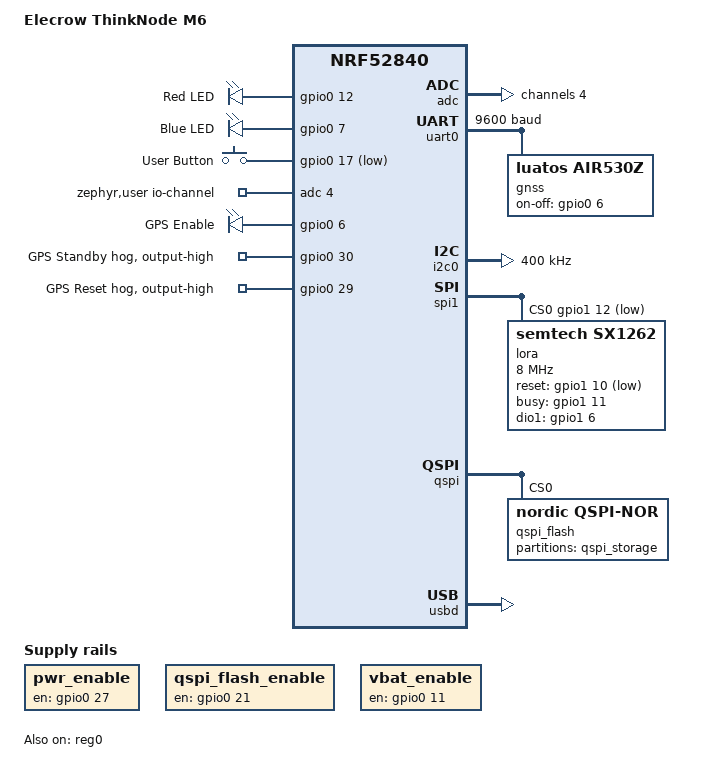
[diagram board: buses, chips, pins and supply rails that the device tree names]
/*
 * Elecrow ThinkNode M6 — nRF52840 + SX1262
 * Copyright (c) 2025 ZephCore
 *
 * SPDX-License-Identifier: MIT
 *
 * Hardware (from Arduino variant.h / platformio.ini):
 * - nRF52840 SoC with BLE (DCDC regulator, NRF52BoardDCDC)
 * - SX1262 LoRa radio on SPI1 (DIO2 RF switch, DIO3 TCXO 3.3V, 22dBm)
 *   NSS=P1.12, DIO1=P1.06, RESET=P1.10, BUSY=P1.11
 * - GPS L76K on UART0 (9600 baud, CASIC/Air530Z — luatos,air530z driver)
 *   Control: GPS_EN=P0.06 (active-HIGH), GPS_RESET=P0.29 (active-LOW),
 *            GPS_STANDBY=P0.30, GPS_PPS=P0.31
 * - Battery ADC on AIN4 (P0.28), 1.75:1 voltage divider
 *   ADC_CTRL enable pin: P0.11 (gpio-hog, always HIGH)
 * - LEDs: RED=P0.12, BLUE=P0.07 (both active-HIGH, LED_STATE_ON=HIGH)
 *   TX LED = BLUE (P_LORA_TX_LED = PIN_LED_BLUE)
 * - Button on P0.17 (active-low, pull-up)
 * - I2C on P1.09/P0.08 for on-board sensors
 * - QSPI Flash MX25R1635F (2MB): SCK=P1.03, CS=P0.23, IO0=P1.01,
 *   IO1=P1.02, IO2=P1.04, IO3=P1.05, enable=P0.21
 * - Power enable: PIN_PWR_EN=P0.27 (regulator-boot-on)
 */

/dts-v1/;
#include <nordic/nrf52840_qiaa.dtsi>
#include <zephyr/dt-bindings/lora/sx126x.h>
#include <zephyr/dt-bindings/adc/nrf-saadc.h>
#include <zephyr/dt-bindings/input/input-event-codes.h>
#include "thinknode_m6-pinctrl.dtsi"

/ {
	model = "Elecrow ThinkNode M6";
	compatible = "elecrow,thinknode-m6";

	chosen {
		zephyr,sram = &sram0;
		zephyr,code-partition = &code_partition;
		zephyr,console = &cdc_acm_uart;
		zephyr,shell-uart = &cdc_acm_uart;
	};

	leds {
		compatible = "gpio-leds";

		led_red: led_0 {
			/* Active-high (LED_STATE_ON = HIGH in variant.h) */
			gpios = <&gpio0 12 GPIO_ACTIVE_HIGH>;
			label = "Red LED";
		};

		led_blue: led_1 {
			/* Active-high, also used as LoRa TX LED (P_LORA_TX_LED) */
			gpios = <&gpio0 7 GPIO_ACTIVE_HIGH>;
			label = "Blue LED";
		};
	};

	buttons: buttons {
		compatible = "gpio-keys";

		user_button: button_0 {
			/* Active-low, internal pull-up */
			gpios = <&gpio0 17 (GPIO_ACTIVE_LOW | GPIO_PULL_UP)>;
			zephyr,code = <INPUT_KEY_0>;
			label = "User Button";
		};
	};

	/* Long-press detection (1000ms) */
	user_btn_longpress {
		compatible = "zephyr,input-longpress";
		input = <&buttons>;
		input-codes = <INPUT_KEY_0>;
		short-codes = <INPUT_KEY_A>;
		long-codes = <INPUT_KEY_F>;
		long-delay-ms = <1000>;
	};

	/* Multi-tap detection
	 * 1 tap  → KEY_1 = page next
	 * 2 taps → KEY_B = LED heartbeat toggle
	 * 3 taps → KEY_D = buzzer mute toggle
	 * 4 taps → KEY_C = GPS on/off
	 * 5 taps → KEY_E = flood advert */
	user_btn_multitap {
		compatible = "zephcore,input-multi-tap";
		input-codes = <INPUT_KEY_A>;
		tap-codes = <INPUT_KEY_1 INPUT_KEY_B INPUT_KEY_D INPUT_KEY_C INPUT_KEY_E>;
		tap-delay-ms = <400>;
	};

	/* Battery ADC on AIN4 (P0.28), 1.75:1 voltage divider.
	 * With GAIN_1_6 + internal ref (3600mV full scale) × 1.75 = 6300 multiplier. */
	zephyr,user {
		io-channels = <&adc 4>;
		vbat-mv-multiplier = <6332>;  /* 1.75:1 divider, 3.6V ref; +0.5% for nRF SAADC gain error */
	};

	/* Board power enable (PIN_PWR_EN = P0.27) — must be HIGH for peripherals */
	pwr_enable: pwr-enable {
		compatible = "regulator-fixed";
		regulator-name = "pwr-enable";
		enable-gpios = <&gpio0 27 GPIO_ACTIVE_HIGH>;
		regulator-boot-on;
	};

	/* QSPI flash enable (QSPI_FLASH_EN = P0.21) — must be HIGH before flash responds.
	 * WARNING: Nordic QSPI NOR driver hangs forever if flash doesn't respond.
	 * This regulator ensures flash is powered before driver init (priority 41). */
	qspi_flash_enable: qspi-flash-enable {
		compatible = "regulator-fixed";
		regulator-name = "qspi-flash-enable";
		enable-gpios = <&gpio0 21 GPIO_ACTIVE_HIGH>;
		regulator-boot-on;
		startup-delay-us = <1000>;
	};

	/* ADC_CTRL (PIN_ADC_CTRL = P0.11) — enables the VBAT resistor divider only
	 * while a battery read is in progress, matching Arduino MeshCore
	 * (variant.cpp holds it LOW at rest; ThinkNodeM6Board pulses it HIGH for
	 * the read). ZephyrBoard::getBattMilliVolts() toggles this regulator
	 * (regulator_enable + 10ms settle, then regulator_disable) around the ADC
	 * sample. No regulator-boot-on: it stays disabled (P0.11 LOW) until the
	 * first read, so the divider doesn't leak current continuously. */
	vbat_enable: vbat-enable {
		compatible = "regulator-fixed";
		regulator-name = "vbat-enable";
		enable-gpios = <&gpio0 11 GPIO_ACTIVE_HIGH>;
	};

	/* GPS enable (GPS_EN = P0.06, active-HIGH) — managed by ZephyrGPSManager */
	gps_en: gps-enable {
		compatible = "gpio-leds";
		gps_enable_pin: gps_enable {
			gpios = <&gpio0 6 GPIO_ACTIVE_HIGH>;
			label = "GPS Enable";
		};
	};

	/* GPS_RESET (P0.29) is driven statically HIGH (de-asserted) by a gpio-hog
	 * in &gpio0 below — see the note there. Arduino MeshCore does the same
	 * (variant.cpp: digitalWrite(PIN_GPS_RESET, HIGH), never pulsed). */

	aliases {
		led0 = &led_red;
		led1 = &led_blue;
		lora-tx-led = &led_blue;
		sw0 = &user_button;
		watchdog0 = &wdt0;
		lora0 = &lora;
		/* Only gps-enable is wired into the ZephCore GPS control path.
		 * gps-reset / gps-sleep-int are intentionally NOT aliased: the
		 * L76K (CASIC/Air530Z) is driven by the luatos,air530z driver via
		 * on-off-gpios, and exposing those aliases would push M6 down the
		 * T1000-E GPS sequence in ZephyrGPSManager (HAS_GPS_SLEEP/RESET).
		 * GPS_RESET (P0.29) and GPS_STANDBY (P0.30) are hogged HIGH in
		 * &gpio0 instead — static drive, matching Arduino MeshCore. */
		gps-enable = &gps_enable_pin;
	};
};

&reg0 {
	status = "okay";
};

&reg1 {
	regulator-initial-mode = <NRF5X_REG_MODE_DCDC>;
};

&adc {
	status = "okay";
	#address-cells = <1>;
	#size-cells = <0>;

	/* Battery voltage on P0.28 (AIN4) — 1.75:1 voltage divider */
	channel@4 {
		reg = <4>;
		zephyr,gain = "ADC_GAIN_1_6";
		zephyr,reference = "ADC_REF_INTERNAL";
		zephyr,acquisition-time = <ADC_ACQ_TIME(ADC_ACQ_TIME_MICROSECONDS, 10)>;
		zephyr,input-positive = <NRF_SAADC_AIN4>;
		zephyr,resolution = <12>;
	};
};

&uicr {
	nfct-pins-as-gpios;
};

&gpiote {
	status = "okay";
};

&gpio0 {
	status = "okay";

	/* ADC control (P0.11) is driven per-read by the vbat_enable regulator
	 * (see the / node) — not hogged HIGH — so the VBAT divider only draws
	 * current during a battery sample, matching Arduino MeshCore. */

	/* GPS control lines held static, mirroring Arduino MeshCore variant.cpp
	 * (GPS_EN is driven separately by the luatos,air530z on-off-gpios):
	 *   GPS_STANDBY (P0.30) HIGH — L76K runs, never parked in standby.
	 *   GPS_RESET   (P0.29) HIGH — reset de-asserted (active-LOW line).
	 * M6 has no physical GPS switch; runtime on/off is via GPS_EN
	 * (gps-enable alias) under software/CLI control. Hogs are used so the
	 * pins are actively driven at boot without needing a consumer — the
	 * gpio-leds nodes are not bound by any driver in this build. */
	gps-standby-hog {
		gpio-hog;
		gpios = <30 GPIO_ACTIVE_HIGH>;
		output-high;
		line-name = "GPS Standby";
	};

	gps-reset-hog {
		gpio-hog;
		gpios = <29 GPIO_ACTIVE_HIGH>;
		output-high;
		line-name = "GPS Reset";
	};
};

&gpio1 {
	status = "okay";
};

/* GPS on UART0 (9600 baud)
 *
 * L76K GPS module — CASIC/Air530Z family, same silicon as the ThinkNode M1.
 * Uses the luatos,air530z driver (PCAS/NMEA), which drives GPS power itself
 * via on-off-gpios (P0.06 = GPS_EN, shared with the gps-enable alias used for
 * runtime power control in ZephyrGPSManager). No zephyr,deferred-init: the
 * driver powers the module on-off-gpios HIGH at init before opening the pipe.
 * GPS_RESET (P0.29) and GPS_STANDBY (P0.30) are hogged HIGH in &gpio0. */
&uart0 {
	compatible = "nordic,nrf-uarte";
	status = "okay";
	current-speed = <9600>;
	pinctrl-0 = <&uart0_default>;
	pinctrl-1 = <&uart0_sleep>;
	pinctrl-names = "default", "sleep";

	gnss: gnss {
		compatible = "luatos,air530z";
		on-off-gpios = <&gpio0 6 GPIO_ACTIVE_HIGH>;
	};
};

/* I2C0 for on-board sensors */
&i2c0 {
	compatible = "nordic,nrf-twim";
	status = "okay";
	clock-frequency = <I2C_BITRATE_FAST>;
	pinctrl-0 = <&i2c0_default>;
	pinctrl-1 = <&i2c0_sleep>;
	pinctrl-names = "default", "sleep";

	/* All supported environment & power sensors — auto-detected at runtime */
	#include "../../common/sensors-i2c.dtsi"
	/* ThinkNode M6 has an onboard PCF8563 RTC — opt in to boot-time time
	 * restore (auto-detected at runtime among the supported chips). */
	#include "../../common/rtc-i2c.dtsi"
};

/* SPI1 for SX1262 LoRa */
&spi1 {
	compatible = "nordic,nrf-spim";
	status = "okay";
	cs-gpios = <&gpio1 12 GPIO_ACTIVE_LOW>;
	pinctrl-0 = <&spi1_default>;
	pinctrl-1 = <&spi1_sleep>;
	pinctrl-names = "default", "sleep";

	lora: lora@0 {
		compatible = "semtech,sx1262";
		reg = <0>;
		spi-max-frequency = <8000000>;

		reset-gpios = <&gpio1 10 GPIO_ACTIVE_LOW>;
		busy-gpios  = <&gpio1 11 GPIO_ACTIVE_HIGH>;
		dio1-gpios  = <&gpio1 6 (GPIO_PULL_DOWN | GPIO_ACTIVE_HIGH)>;

		/* DIO2 drives the RF switch for TX/RX selection */
		dio2-tx-enable;

		/* DIO3 provides TCXO reference voltage at 3.3V */
		dio3-tcxo-voltage = <SX126X_DIO3_TCXO_3V3>;
		tcxo-power-startup-delay-ms = <10>;

		/* RX boosted mode for better sensitivity (SX126X_RX_BOOSTED_GAIN=1) */
		rx-boosted;
	};
};

/* QSPI Flash — MX25R1635F 2MB */
&qspi {
	status = "okay";
	pinctrl-0 = <&qspi_default>;
	pinctrl-1 = <&qspi_sleep>;
	pinctrl-names = "default", "sleep";

	qspi_flash: qspi_flash@0 {
		compatible = "nordic,qspi-nor";
		reg = <0>;
		writeoc = "pp";
		readoc = "fastread";
		sck-frequency = <16000000>;
		jedec-id = [c2 28 15];        /* MX25R1635F */
		size = <16777216>;            /* 2MB = 16Mbit */
		has-dpd;
		t-enter-dpd = <10000>;
		t-exit-dpd = <35000>;
	};
};

/* USB CDC for console/CLI */
zephyr_udc0: &usbd {
	compatible = "nordic,nrf-usbd";
	status = "okay";

	cdc_acm_uart: cdc_acm_uart {
		compatible = "zephyr,cdc-acm-uart";
	};
};

/* SoftDevice v6 partition layout (S140 v6 — Adafruit nRF52 bootloader) */
#include "../../common/nrf52_partitions_sdv6.dtsi"

/* External QSPI flash partitions */
&qspi_flash {
	partitions {
		compatible = "fixed-partitions";
		#address-cells = <1>;
		#size-cells = <1>;

		/* Full 2MB for LittleFS storage */
		qspi_storage_partition: partition@0 {
			label = "qspi_storage";
			reg = <0x00000000 0x00200000>;
		};
	};
};

/* External QSPI /ext automount */
#include "../../common/qspi-ext.dtsi"
#include "../../common/nrf52_wakeup.dtsi"
